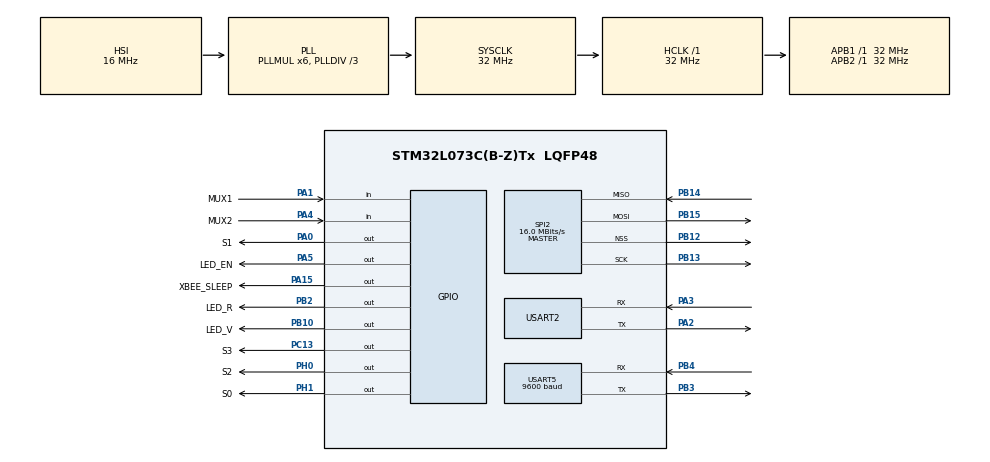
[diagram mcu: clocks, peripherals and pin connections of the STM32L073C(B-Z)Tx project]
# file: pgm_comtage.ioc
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Mcu.Family=STM32L0
Mcu.Name=STM32L073C(B-Z)Tx
Mcu.Package=LQFP48
NVIC.TIM2_IRQn=true\:0\:0\:false\:false\:true\:true\:true
NVIC.TIM3_IRQn=true\:0\:0\:false\:false\:true\:true\:true
NVIC.USART4_5_IRQn=true\:0\:0\:false\:false\:true\:true\:true
PA0.GPIO_Label=S1
PA0.Signal=GPIO_Output
PA1.GPIO_Label=MUX1
PA1.Signal=GPIO_Input
PA15.GPIO_Label=XBEE_SLEEP
PA15.Signal=GPIO_Output
PA2.Mode=Asynchronous
PA2.Signal=USART2_TX
PA3.Mode=Asynchronous
PA3.Signal=USART2_RX
PA4.GPIO_Label=MUX2
PA4.Signal=GPIO_Input
PA5.GPIO_Label=LED_EN
PA5.Signal=GPIO_Output
PB10.GPIO_Label=LED_V
PB10.Signal=GPIO_Output
PB12.Mode=NSS_Signal_Hard_Output
PB12.Signal=SPI2_NSS
PB13.Mode=Full_Duplex_Master
PB13.Signal=SPI2_SCK
PB14.Mode=Full_Duplex_Master
PB14.Signal=SPI2_MISO
PB15.Mode=Full_Duplex_Master
PB15.Signal=SPI2_MOSI
PB2.GPIO_Label=LED_R
PB2.Signal=GPIO_Output
PB3.Mode=Asynchronous
PB3.Signal=USART5_TX
PB4.Mode=Asynchronous
PB4.Signal=USART5_RX
PC13.GPIO_Label=S3
PC13.Signal=GPIO_Output
PH0-OSC_IN.GPIO_Label=S2
PH0-OSC_IN.Signal=GPIO_Output
PH1-OSC_OUT.GPIO_Label=S0
PH1-OSC_OUT.Signal=GPIO_Output
ProjectManager.HeapSize=0x200
ProjectManager.StackSize=0x400
ProjectManager.TargetToolchain=STM32CubeIDE
RCC.AHBFreq_Value=32000000
RCC.APB1Freq_Value=32000000
RCC.APB1TimFreq_Value=32000000
RCC.APB2Freq_Value=32000000
RCC.APB2TimFreq_Value=32000000
RCC.HCLKFreq_Value=32000000
RCC.HSE_VALUE=8000000
RCC.HSI16_VALUE=16000000
RCC.HSI48_VALUE=48000000
RCC.HSI_VALUE=16000000
RCC.LSE_VALUE=32768
RCC.MSI_VALUE=2097000
RCC.PLLDIV=RCC_PLLDIV_3
RCC.PLLMUL=RCC_PLLMUL_6
RCC.SYSCLKFreq_VALUE=32000000
RCC.SYSCLKSource=RCC_SYSCLKSOURCE_PLLCLK
RCC.VCOOutputFreq_Value=96000000
SPI2.CalculateBaudRate=16.0 MBits/s
SPI2.Direction=SPI_DIRECTION_2LINES
SPI2.Mode=SPI_MODE_MASTER
SPI2.VirtualNSS=VM_NSSHARD
SPI2.VirtualType=VM_MASTER
TIM2.Period=1000
TIM2.Prescaler=1600
TIM3.ClockDivision=TIM_CLOCKDIVISION_DIV1
TIM3.Period=4883
TIM3.Prescaler=65535
USART2.VirtualMode-Asynchronous=VM_ASYNC
USART5.BaudRate=9600
USART5.VirtualMode-Asynchronous=VM_ASYNC
VP_TIM2_VS_ClockSourceINT.Mode=Internal
VP_TIM3_VS_ClockSourceINT.Mode=Internal
board=custom

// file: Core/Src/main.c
/* USER CODE BEGIN Header */
/**
  ******************************************************************************
  * @file           : main.c
  * @brief          : Main program body
  ******************************************************************************
  * @attention
  *
  * <h2><center>&copy; Copyright (c) 2021 STMicroelectronics.
  * All rights reserved.</center></h2>
  *
  * This software component is licensed by ST under BSD 3-Clause license,
  * the "License"; You may not use this file except in compliance with the
  * License. You may obtain a copy of the License at:
  *                        opensource.org/licenses/BSD-3-Clause
  *
  ******************************************************************************
  */
/* USER CODE END Header */
#include "main.h"

/* USER CODE BEGIN PM */

#define bee_rate_fine_polling_threshold 2 //in bee per DT
#define bee_rate_alert_threshold 5 //in bee per DT
#define DT 10 //in seconds

#define transmit_request 0x10
#define receive_packet 0x90
#define remote_command_response 0x97
#define remote_AT_command_request 0x17

#define timeout_duration 500 // x 2ms

#define LED_R GPIO_PIN_2
#define LED_V GPIO_PIN_10

#define LED_EN GPIOA, GPIO_PIN_5
#define XBEE_SLEEP GPIOA, GPIO_PIN_15

#define MUX1 GPIOA, GPIO_PIN_1
#define MUX2 GPIOA, GPIO_PIN_4

/* USER CODE END PM */

SPI_HandleTypeDef hspi2;

TIM_HandleTypeDef htim2;
TIM_HandleTypeDef htim3;

UART_HandleTypeDef huart2;
UART_HandleTypeDef huart5;

/* USER CODE BEGIN PV */

enum {
	lora_init,
	xbee_init,
	master_idle,
	sparse_polling,
	fine_polling,
	lora_alert
} master_state = lora_init;

uint8_t sensor_pair[16][2] = {
 //exterior, interior
		{0 , 1 },
		{3 , 2 },
		{5 , 4 },
		{7 , 6 },
		{15, 14},
		{13, 12},
		{11, 10},
		{9 , 8 },
		{17, 16},
		{19, 18},
		{21, 20},
		{23, 22},
		{31, 30},
		{29, 28},
		{27, 26},
		{25, 24}
};

//signal_off,
//signal_ok,
//signal_connecting,
//signal_swarming,
//signal_fault
uint8_t signals[5][20][2] = {
		{     // R, G
				{0, 0}, //off
				{0, 0},
				{0, 0},
				{0, 0},
				{0, 0},
				{0, 0},
				{0, 0},
				{0, 0},
				{0, 0},
				{0, 0},
				{0, 0},
				{0, 0},
				{0, 0},
				{0, 0},
				{0, 0},
				{0, 0},
				{0, 0},
				{0, 0},
				{0, 0},
				{0, 0}
		}, {
				{0, 1}, //ok
				{0, 0},
				{0, 0},
				{0, 1},
				{0, 0},
				{0, 0},
				{0, 0},
				{0, 0},
				{0, 0},
				{0, 0},
				{0, 0},
				{0, 0},
				{0, 0},
				{0, 0},
				{0, 0},
				{0, 0},
				{0, 0},
				{0, 0},
				{0, 0},
				{0, 0}
		}, {
				{0, 1}, //connecting
				{0, 0},
				{0, 1},
				{0, 0},
				{0, 1},
				{0, 0},
				{0, 1},
				{0, 0},
				{0, 1},
				{0, 0},
				{0, 1},
				{0, 0},
				{0, 1},
				{0, 0},
				{0, 1},
				{0, 0},
				{0, 1},
				{0, 0},
				{0, 1},
				{0, 0}
		}, {
				{1, 0}, //swarming
				{0, 1},
				{1, 0},
				{0, 1},
				{1, 0},
				{0, 1},
				{1, 0},
				{0, 1},
				{1, 0},
				{0, 1},
				{1, 0},
				{0, 1},
				{1, 0},
				{0, 1},
				{1, 0},
				{0, 1},
				{1, 0},
				{0, 1},
				{1, 0},
				{0, 1}
		}, {
				{1, 0}, //fault
				{0, 0},
				{1, 0},
				{0, 0},
				{1, 0},
				{0, 0},
				{1, 0},
				{0, 0},
				{1, 0},
				{0, 0},
				{1, 0},
				{0, 0},
				{1, 0},
				{0, 0},
				{1, 0},
				{0, 0},
				{1, 0},
				{0, 0},
				{1, 0},
				{0, 0}
		}
};

uint8_t sensor_value[16][2] = {0};
typedef enum {A, B, C, D} sensors_states;
sensors_states sensors_state[16] = {A};

long int bee_count;
int16_t bee_rate;
uint8_t alert_sent_flag = 0;

uint8_t lora_status = {0};
uint8_t cr_flag=0;
uint8_t xbee_rx_last_byte = 0;
uint8_t xbee_rx_buffer[256] = {0};
uint8_t xbee_rx_read_index = 0xFF;
uint8_t xbee_rx_write_index = 0;

//tableau des parametres envoyés au xBee
//pour chaque config_step de 0 à config_length exclu
//-->envoie "AT"+ config[config_step][0] + config[config_step][1]

uint8_t config[20][2][10] = {
	{"ID", "1230"}, // network id
	{"NI", "abeille2"}, // node id
	{"CE", "0"},	// coordinator mode
	{"AP", "1"},  	// API enable
	{"SP", "20"},	// cyclic sleep period
	{"SN", "100"},  // number of sleep periods
	{"SM", "0"},	// sleep mode
	{"ST", "500"}   // time before sleep
};
uint8_t config_step = 0;
uint8_t xbee_reset = 0;

uint8_t config_length = 8;

enum xbee_send_states {
	enter_command_mode,
	command_mode_ok,
	send_config,
	config_ok,
	single_command,
	single_command_ok,
	config_over
} xbee_send_state = enter_command_mode;

enum xbee_receive_states {
	idle,
	frame_length,
	frame_type,
	frame_id,
	frame_address64,
	frame_address16,
	frame_option,
	frame_at_status,
	frame_content,
	check_sum,
	process_content
} xbee_receive_state = idle;

enum signal_states {
	signal_off,
	signal_ok,
	signal_connecting,
	signal_swarming,
	signal_fault
} signal_state = signal_off;

struct frame{
    uint16_t length;
    uint8_t type;
    uint8_t id; //AT
    uint64_t address64;
    uint16_t address16;
    uint8_t option;
    uint8_t content[256];
    uint8_t content_index;
    uint8_t command_status[4]; //AT
    uint8_t check_sum;
    uint8_t check_sum_ok;
};

//AT COMMANDS https://cdn.sparkfun.com/assets/resources/2/9/22AT_Commands.pdf

struct frame received_frame = {0};

/* USER CODE END PV */

void SystemClock_Config(void);
static void MX_GPIO_Init(void);
static void MX_USART5_UART_Init(void);
static void MX_USART2_UART_Init(void);
static void MX_TIM3_Init(void);
static void MX_SPI2_Init(void);
static void MX_TIM2_Init(void);

/* USER CODE BEGIN 0 */

void select_mux(uint8_t);
void scan_sensors(void);
void HAL_UART_RxCpltCallback(UART_HandleTypeDef *huart);
void update_bee_rate();
void update_signal();

void invert_lsB_msB(uint64_t*, uint8_t);
void xbee_send_string(uint8_t * string);
void xbee_send_alert();
void read_xbee();

/* USER CODE END 0 */

int main(void)
{

  /* MCU Configuration--------------------------------------------------------*/

  /* Reset of all peripherals, Initializes the Flash interface and the Systick. */
  HAL_Init();

  /* Configure the system clock */
  SystemClock_Config();

  /* Initialize all configured peripherals */
  MX_GPIO_Init();
  MX_USART5_UART_Init();
  MX_USART2_UART_Init();
  MX_TIM3_Init();
  MX_SPI2_Init();
  MX_TIM2_Init();
  /* USER CODE BEGIN 2 */

  HAL_TIM_Base_Start_IT(&htim3);
  HAL_TIM_Base_Start_IT(&htim2);

  HAL_GPIO_WritePin(GPIOB, LED_R, GPIO_PIN_SET);
  HAL_GPIO_WritePin(GPIOB, LED_V, GPIO_PIN_RESET);
  HAL_GPIO_WritePin(XBEE_SLEEP, 0);

  HAL_UART_Receive_IT(&huart5, &xbee_rx_last_byte, 1);

//  xbee_send_state = config_over;

  /* USER CODE END 2 */

  /* Infinite loop */
  while (1)
  {

    /* USER CODE BEGIN 3 */
	  static uint16_t timeout;
	  char string[50] = {0};

	  switch(master_state){
	  	  case lora_init:
	  		  signal_state = signal_connecting;
	  		  master_state = xbee_init;
	  	  break;
	  	  case xbee_init:
			  switch(xbee_send_state){

				  case enter_command_mode:
					  HAL_GPIO_TogglePin (GPIOB, GPIO_PIN_2);
					  HAL_UART_Transmit(&huart5, "+++", 3, 100);
					  timeout = 0;
					  xbee_send_state = command_mode_ok;
				  break;

				  case command_mode_ok:
					  if(cr_flag){
						  if(xbee_rx_buffer[cr_flag-2] == 'O' && xbee_rx_buffer[cr_flag-1] == 'K'){
							  xbee_send_state = single_command;
							  HAL_Delay(10);
							  timeout = 0;
						  }
						  cr_flag = 0;
					  }
					  else {
						  HAL_Delay(1);
						  timeout++;
						  if (timeout >= timeout_duration)
							  xbee_send_state = enter_command_mode;
					  }
				  break;

				  case single_command:
					  if (xbee_reset==0){
						  HAL_UART_Transmit(&huart5, "ATRE\r", 5, 100);
						  xbee_reset = 1;
					  }
					  timeout = 0;
					  xbee_send_state = single_command_ok;
				  break;

				  case single_command_ok:
					  if(cr_flag){
						  if(xbee_rx_buffer[cr_flag-2] == 'O' && xbee_rx_buffer[cr_flag-1] == 'K'){
							  xbee_send_state = send_config;
							  HAL_Delay(10);
							  timeout = 0;
						  }
						  cr_flag = 0;
					  }
					  else {
						  HAL_Delay(1);
						  timeout++;
						  if (timeout >= timeout_duration)
							  xbee_send_state = enter_command_mode;
					  }
				  break;

				  case send_config:

					  if(config_step == config_length){
						  sprintf(string, "ATWR\r");
					  }
					  else sprintf(string, "AT%s%s\r", config[config_step][0], config[config_step][1]);

					  HAL_UART_Transmit(&huart5, string, strlen(string), 100);
					  xbee_send_state = config_ok;
				  break;

				  case config_ok:
					  if(cr_flag){
						  if(xbee_rx_buffer[cr_flag-2] == 'O' && xbee_rx_buffer[cr_flag-1] == 'K'){
							  if(config_step == config_length){
								  HAL_GPIO_WritePin(GPIOB, LED_R, GPIO_PIN_RESET);
								  HAL_GPIO_WritePin(GPIOB, LED_V, GPIO_PIN_SET);
								  xbee_send_state = config_over;
								  HAL_Delay(10000);
								  master_state = fine_polling;
								  xbee_rx_read_index = xbee_rx_write_index;
							  }
							  else {
								  timeout = 0;
								  config_step++;
								  xbee_send_state = send_config;
								  HAL_Delay(10);
							  }
						  }
						  cr_flag = 0;
					  }
					  if(xbee_rx_buffer[xbee_rx_write_index-2] == 'O' && xbee_rx_buffer[xbee_rx_write_index-1] == 'K'){

					  }
					  else {
						  HAL_Delay(1);
						  timeout++;
						  if (timeout >= timeout_duration){
							  xbee_send_state = enter_command_mode;
							  //config_step = 0;
						  }
					  }
				  break;

				  default:

				  break;

			  }
	      break;

	  	  case master_idle:
	  		  signal_state = signal_ok;
	  		  HAL_Delay(1000);

	  		  master_state = fine_polling;
	  	  break;

	  	  case sparse_polling:
	  		  signal_state = signal_ok;
	  		  scan_sensors();
	  		  HAL_Delay(10); //if a large amount of bees goes in or out
	  		  if(bee_rate < -1*bee_rate_fine_polling_threshold || bee_rate > 1*bee_rate_fine_polling_threshold){
	  			  master_state = fine_polling; //we'll trigger a fine_polling
	  		  }
	  	  break;

	  	  case fine_polling:
	  		  if (signal_state != signal_swarming ) signal_state = signal_ok;
	  		  scan_sensors();
	  		  if(bee_rate < -1*bee_rate_alert_threshold || bee_rate > bee_rate_alert_threshold){
	  			  xbee_send_alert();
	  			  signal_state = signal_swarming;
	  			  bee_rate = 0;
	  		  }
	  	  break;

	  	  case lora_alert:
	  		  signal_state = signal_swarming;
	  	  break;

	  	  default: break;
	  }

	  read_xbee();
  }
  /* USER CODE END 3 */
}

void SystemClock_Config(void)
{
  RCC_OscInitTypeDef RCC_OscInitStruct = {0};
  RCC_ClkInitTypeDef RCC_ClkInitStruct = {0};
  RCC_PeriphCLKInitTypeDef PeriphClkInit = {0};

  /** Configure the main internal regulator output voltage
  */
  __HAL_PWR_VOLTAGESCALING_CONFIG(PWR_REGULATOR_VOLTAGE_SCALE1);
  /** Initializes the RCC Oscillators according to the specified parameters
  * in the RCC_OscInitTypeDef structure.
  */
  RCC_OscInitStruct.OscillatorType = RCC_OSCILLATORTYPE_HSI;
  RCC_OscInitStruct.HSIState = RCC_HSI_ON;
  RCC_OscInitStruct.HSICalibrationValue = RCC_HSICALIBRATION_DEFAULT;
  RCC_OscInitStruct.PLL.PLLState = RCC_PLL_ON;
  RCC_OscInitStruct.PLL.PLLSource = RCC_PLLSOURCE_HSI;
  RCC_OscInitStruct.PLL.PLLMUL = RCC_PLLMUL_6;
  RCC_OscInitStruct.PLL.PLLDIV = RCC_PLLDIV_3;
  if (HAL_RCC_OscConfig(&RCC_OscInitStruct) != HAL_OK)
  {
    Error_Handler();
  }
  /** Initializes the CPU, AHB and APB buses clocks
  */
  RCC_ClkInitStruct.ClockType = RCC_CLOCKTYPE_HCLK|RCC_CLOCKTYPE_SYSCLK
                              |RCC_CLOCKTYPE_PCLK1|RCC_CLOCKTYPE_PCLK2;
  RCC_ClkInitStruct.SYSCLKSource = RCC_SYSCLKSOURCE_PLLCLK;
  RCC_ClkInitStruct.AHBCLKDivider = RCC_SYSCLK_DIV1;
  RCC_ClkInitStruct.APB1CLKDivider = RCC_HCLK_DIV1;
  RCC_ClkInitStruct.APB2CLKDivider = RCC_HCLK_DIV1;

  if (HAL_RCC_ClockConfig(&RCC_ClkInitStruct, FLASH_LATENCY_1) != HAL_OK)
  {
    Error_Handler();
  }
  PeriphClkInit.PeriphClockSelection = RCC_PERIPHCLK_USART2;
  PeriphClkInit.Usart2ClockSelection = RCC_USART2CLKSOURCE_PCLK1;
  if (HAL_RCCEx_PeriphCLKConfig(&PeriphClkInit) != HAL_OK)
  {
    Error_Handler();
  }
}

static void MX_SPI2_Init(void)
{

  /* SPI2 parameter configuration*/
  hspi2.Instance = SPI2;
  hspi2.Init.Mode = SPI_MODE_MASTER;
  hspi2.Init.Direction = SPI_DIRECTION_2LINES;
  hspi2.Init.DataSize = SPI_DATASIZE_8BIT;
  hspi2.Init.CLKPolarity = SPI_POLARITY_LOW;
  hspi2.Init.CLKPhase = SPI_PHASE_1EDGE;
  hspi2.Init.NSS = SPI_NSS_HARD_OUTPUT;
  hspi2.Init.BaudRatePrescaler = SPI_BAUDRATEPRESCALER_2;
  hspi2.Init.FirstBit = SPI_FIRSTBIT_MSB;
  hspi2.Init.TIMode = SPI_TIMODE_DISABLE;
  hspi2.Init.CRCCalculation = SPI_CRCCALCULATION_DISABLE;
  hspi2.Init.CRCPolynomial = 7;
  if (HAL_SPI_Init(&hspi2) != HAL_OK)
  {
    Error_Handler();
  }

}

static void MX_TIM2_Init(void)
{

  TIM_ClockConfigTypeDef sClockSourceConfig = {0};
  TIM_MasterConfigTypeDef sMasterConfig = {0};

  htim2.Instance = TIM2;
  htim2.Init.Prescaler = 1600;
  htim2.Init.CounterMode = TIM_COUNTERMODE_UP;
  htim2.Init.Period = 1000;
  htim2.Init.ClockDivision = TIM_CLOCKDIVISION_DIV1;
  htim2.Init.AutoReloadPreload = TIM_AUTORELOAD_PRELOAD_DISABLE;
  if (HAL_TIM_Base_Init(&htim2) != HAL_OK)
  {
    Error_Handler();
  }
  sClockSourceConfig.ClockSource = TIM_CLOCKSOURCE_INTERNAL;
  if (HAL_TIM_ConfigClockSource(&htim2, &sClockSourceConfig) != HAL_OK)
  {
    Error_Handler();
  }
  sMasterConfig.MasterOutputTrigger = TIM_TRGO_RESET;
  sMasterConfig.MasterSlaveMode = TIM_MASTERSLAVEMODE_DISABLE;
  if (HAL_TIMEx_MasterConfigSynchronization(&htim2, &sMasterConfig) != HAL_OK)
  {
    Error_Handler();
  }

}

static void MX_TIM3_Init(void)
{

  TIM_ClockConfigTypeDef sClockSourceConfig = {0};
  TIM_MasterConfigTypeDef sMasterConfig = {0};

  htim3.Instance = TIM3;
  htim3.Init.Prescaler = 65535;
  htim3.Init.CounterMode = TIM_COUNTERMODE_UP;
  htim3.Init.Period = 4883;
  htim3.Init.ClockDivision = TIM_CLOCKDIVISION_DIV1;
  htim3.Init.AutoReloadPreload = TIM_AUTORELOAD_PRELOAD_DISABLE;
  if (HAL_TIM_Base_Init(&htim3) != HAL_OK)
  {
    Error_Handler();
  }
  sClockSourceConfig.ClockSource = TIM_CLOCKSOURCE_INTERNAL;
  if (HAL_TIM_ConfigClockSource(&htim3, &sClockSourceConfig) != HAL_OK)
  {
    Error_Handler();
  }
  sMasterConfig.MasterOutputTrigger = TIM_TRGO_RESET;
  sMasterConfig.MasterSlaveMode = TIM_MASTERSLAVEMODE_DISABLE;
  if (HAL_TIMEx_MasterConfigSynchronization(&htim3, &sMasterConfig) != HAL_OK)
  {
    Error_Handler();
  }

}

static void MX_USART2_UART_Init(void)
{

  huart2.Instance = USART2;
  huart2.Init.BaudRate = 115200;
  huart2.Init.WordLength = UART_WORDLENGTH_8B;
  huart2.Init.StopBits = UART_STOPBITS_1;
  huart2.Init.Parity = UART_PARITY_NONE;
  huart2.Init.Mode = UART_MODE_TX_RX;
  huart2.Init.HwFlowCtl = UART_HWCONTROL_NONE;
  huart2.Init.OverSampling = UART_OVERSAMPLING_16;
  huart2.Init.OneBitSampling = UART_ONE_BIT_SAMPLE_DISABLE;
  huart2.AdvancedInit.AdvFeatureInit = UART_ADVFEATURE_NO_INIT;
  if (HAL_UART_Init(&huart2) != HAL_OK)
  {
    Error_Handler();
  }

}

static void MX_USART5_UART_Init(void)
{

  huart5.Instance = USART5;
  huart5.Init.BaudRate = 9600;
  huart5.Init.WordLength = UART_WORDLENGTH_8B;
  huart5.Init.StopBits = UART_STOPBITS_1;
  huart5.Init.Parity = UART_PARITY_NONE;
  huart5.Init.Mode = UART_MODE_TX_RX;
  huart5.Init.HwFlowCtl = UART_HWCONTROL_NONE;
  huart5.Init.OverSampling = UART_OVERSAMPLING_16;
  huart5.Init.OneBitSampling = UART_ONE_BIT_SAMPLE_DISABLE;
  huart5.AdvancedInit.AdvFeatureInit = UART_ADVFEATURE_NO_INIT;
  if (HAL_UART_Init(&huart5) != HAL_OK)
  {
    Error_Handler();
  }

}

static void MX_GPIO_Init(void)
{
  GPIO_InitTypeDef GPIO_InitStruct = {0};

  /* GPIO Ports Clock Enable */
  __HAL_RCC_GPIOC_CLK_ENABLE();
  __HAL_RCC_GPIOH_CLK_ENABLE();
  __HAL_RCC_GPIOA_CLK_ENABLE();
  __HAL_RCC_GPIOB_CLK_ENABLE();

  /*Configure GPIO pin Output Level */
  HAL_GPIO_WritePin(S3_GPIO_Port, S3_Pin, GPIO_PIN_RESET);

  /*Configure GPIO pin Output Level */
  HAL_GPIO_WritePin(GPIOH, S2_Pin|S0_Pin, GPIO_PIN_RESET);

  /*Configure GPIO pin Output Level */
  HAL_GPIO_WritePin(GPIOA, S1_Pin|LED_EN_Pin|XBEE_SLEEP_Pin, GPIO_PIN_RESET);

  /*Configure GPIO pin Output Level */
  HAL_GPIO_WritePin(GPIOB, LED_R_Pin|LED_V_Pin, GPIO_PIN_RESET);

  /*Configure GPIO pin : S3_Pin */
  GPIO_InitStruct.Pin = S3_Pin;
  GPIO_InitStruct.Mode = GPIO_MODE_OUTPUT_PP;
  GPIO_InitStruct.Pull = GPIO_NOPULL;
  GPIO_InitStruct.Speed = GPIO_SPEED_FREQ_LOW;
  HAL_GPIO_Init(S3_GPIO_Port, &GPIO_InitStruct);

  /*Configure GPIO pins : S2_Pin S0_Pin */
  GPIO_InitStruct.Pin = S2_Pin|S0_Pin;
  GPIO_InitStruct.Mode = GPIO_MODE_OUTPUT_PP;
  GPIO_InitStruct.Pull = GPIO_NOPULL;
  GPIO_InitStruct.Speed = GPIO_SPEED_FREQ_LOW;
  HAL_GPIO_Init(GPIOH, &GPIO_InitStruct);

  /*Configure GPIO pins : S1_Pin LED_EN_Pin XBEE_SLEEP_Pin */
  GPIO_InitStruct.Pin = S1_Pin|LED_EN_Pin|XBEE_SLEEP_Pin;
  GPIO_InitStruct.Mode = GPIO_MODE_OUTPUT_PP;
  GPIO_InitStruct.Pull = GPIO_NOPULL;
  GPIO_InitStruct.Speed = GPIO_SPEED_FREQ_LOW;
  HAL_GPIO_Init(GPIOA, &GPIO_InitStruct);

  /*Configure GPIO pins : MUX1_Pin MUX2_Pin */
  GPIO_InitStruct.Pin = MUX1_Pin|MUX2_Pin;
  GPIO_InitStruct.Mode = GPIO_MODE_INPUT;
  GPIO_InitStruct.Pull = GPIO_NOPULL;
  HAL_GPIO_Init(GPIOA, &GPIO_InitStruct);

  /*Configure GPIO pins : LED_R_Pin LED_V_Pin */
  GPIO_InitStruct.Pin = LED_R_Pin|LED_V_Pin;
  GPIO_InitStruct.Mode = GPIO_MODE_OUTPUT_PP;
  GPIO_InitStruct.Pull = GPIO_NOPULL;
  GPIO_InitStruct.Speed = GPIO_SPEED_FREQ_LOW;
  HAL_GPIO_Init(GPIOB, &GPIO_InitStruct);

}

/* USER CODE BEGIN 4 */

void select_mux(uint8_t sel){
	HAL_GPIO_WritePin(GPIOH, GPIO_PIN_1 , (sel & 0b0001)>>0);
	HAL_GPIO_WritePin(GPIOA, GPIO_PIN_0 , (sel & 0b0010)>>1);
	HAL_GPIO_WritePin(GPIOH, GPIO_PIN_0 , (sel & 0b0100)>>2);
	HAL_GPIO_WritePin(GPIOC, GPIO_PIN_13, (sel & 0b1000)>>3);
}

void scan_sensors(){

  HAL_GPIO_WritePin(GPIOA, GPIO_PIN_5, 1); //turn on the diodes

  for(uint8_t i=0; i<8; i++) for(uint8_t j=0; j<2; j++){
	  uint8_t sensor_pair_value;
	  select_mux(sensor_pair[8*j+i][0]);
	  sensor_pair_value = (j)? HAL_GPIO_ReadPin(MUX1) : HAL_GPIO_ReadPin(MUX2);
	  select_mux(sensor_pair[8*j+i][1]);
	  sensor_pair_value += (j)? HAL_GPIO_ReadPin(MUX1)<<1 : HAL_GPIO_ReadPin(MUX2)<<1;

	  switch(sensors_state[8*j+i]){
		  case A:
			  if(sensor_pair_value == 0b01){
				  sensors_state[8*j+i] = B;
				  bee_count--;
//				  HAL_GPIO_WritePin(GPIOB, LED_R, 1);
//				  HAL_GPIO_WritePin(GPIOB, LED_V, 0);
//				  xbee_send_alert();
			  }
			  else if(sensor_pair_value == 0b10){
				  sensors_state[8*j+i] = D;
				  bee_count++;
//				  HAL_GPIO_WritePin(GPIOB, LED_R, 0);
//				  HAL_GPIO_WritePin(GPIOB, LED_V, 1);
//				  xbee_send_alert();
			  }
		  break;

		  case B:
			  if(sensor_pair_value == 0b00) sensors_state[8*j+i] = C;
			  else if (sensor_pair_value == 0b11) sensors_state[8*j+i] = A;
		  break;

		  case C:
			  if(sensor_pair_value == 0b10) sensors_state[8*j+i] = D;
			  else if (sensor_pair_value == 0b01) sensors_state[8*j+i] = B;
		  break;

		  case D:
			  if(sensor_pair_value == 0b11) sensors_state[8*j+i] = A;
			  else if (sensor_pair_value == 0b00) sensors_state[8*j+i] = C;
		  break;
	  }
  }
  if(master_state == sparse_polling) HAL_GPIO_WritePin(GPIOA, GPIO_PIN_5, 0);
}

void HAL_UART_RxCpltCallback(UART_HandleTypeDef *huart)
{
	if (huart->Instance == USART5){
	    xbee_rx_buffer[xbee_rx_write_index] = xbee_rx_last_byte;
	    cr_flag = (xbee_rx_last_byte == 0x0D)? xbee_rx_write_index : 0;
	    xbee_rx_write_index++;
	    HAL_UART_Receive_IT(&huart5, &xbee_rx_last_byte, 1);

	}
}

void HAL_TIM_PeriodElapsedCallback(TIM_HandleTypeDef *htim){
	if(htim == &htim3){
		update_bee_rate();
	} else if(htim == &htim2){
		update_signal();
	}
}

void update_bee_rate(){
	static long int bee_count_prev = 0;
	alert_sent_flag = 0;
	bee_rate = (bee_count - bee_count_prev);
	bee_count_prev = bee_count;
}

void update_signal(){
	static uint8_t i = 0;
	HAL_GPIO_WritePin(GPIOB, LED_R, signals[signal_state][i][0]);
	HAL_GPIO_WritePin(GPIOB, LED_V, signals[signal_state][i][1]);
	i = (i+1)%20;
}

void invert_lsB_msB(uint64_t * var, uint8_t length){
	uint64_t new_var = 0;
	for(uint8_t i=0; i<length; i++){
		uint64_t byte = (*var & (0xFF<<(8*i)))>>(8*i);
		new_var += byte<<((length-1-i)*8);
	}

	*var = new_var;
}

void xbee_send_string(uint8_t * string){
	struct frame tx_frame = {0};
	tx_frame.length = 0x0E + strlen(string);
	invert_lsB_msB((uint64_t*)&tx_frame.length, 2);
	tx_frame.type = 0x10;
	tx_frame.id = 0x01;
	tx_frame.address64 = 0xFFFF;
	invert_lsB_msB((uint64_t*)&tx_frame.address64, 8);
	tx_frame.address16 = 0xFFFE;
	invert_lsB_msB((uint64_t*)&tx_frame.address16, 2);
	memcpy(tx_frame.content, string, strlen(string));

	uint64_t sum = 0;
	uint16_t frame_length;
	frame_length = 275;
	uint8_t * ptr = (void *)&tx_frame+2;
	for(uint16_t i=0; i<frame_length-2; i++){
		sum += *ptr;
		ptr++;
	}

	tx_frame.check_sum = 0xFF - (sum & 0xFF);

	HAL_UART_Transmit(&huart5, "~", 1, 100);
	HAL_UART_Transmit(&huart5, (uint8_t*)&tx_frame.length, 2, 100);
	HAL_UART_Transmit(&huart5, &tx_frame.type, 1, 100);
	HAL_UART_Transmit(&huart5, &tx_frame.id, 1, 100);
	HAL_UART_Transmit(&huart5, &tx_frame.address64, 8, 100);
	HAL_UART_Transmit(&huart5, &tx_frame.address16, 2, 100);
	HAL_UART_Transmit(&huart5, &tx_frame.content_index, 1, 100);
	HAL_UART_Transmit(&huart5, &tx_frame.option, 1, 100);
	HAL_UART_Transmit(&huart5, &tx_frame.content, strlen(string), 100);
	HAL_UART_Transmit(&huart5, &tx_frame.check_sum, 1, 100);
}
void xbee_send_alert(){
	if(alert_sent_flag == 0){
		alert_sent_flag = 1;
		uint8_t string[256];
		sprintf(string, "E %s %li %li\r", config[1][1], bee_count, bee_rate);
		xbee_send_string(string);
	}

}

void read_xbee(){
  static struct frame received_frame = {0};

  if(xbee_rx_read_index<xbee_rx_write_index && master_state != xbee_init){
	  uint64_t sum = 0;
	  static uint8_t multiple_byte_step;

	  switch (xbee_receive_state){
		  case idle:
			  if(xbee_rx_buffer[xbee_rx_read_index] == 0x7E){
				  xbee_receive_state = frame_length;
			  }
			  /*else if (lora_requested && xbee_rx_buffer[xbee_rx_read_index] == 0xAA){
				  is_coordinator = True;
				  lora_requested = False;
			  }*/
		  break;

		  case frame_length:
			  received_frame.length += ((uint16_t)(xbee_rx_buffer[xbee_rx_read_index])) << (8-8*multiple_byte_step) ;
			  if(multiple_byte_step){
				  multiple_byte_step = 0;
				  xbee_receive_state = frame_type;
			  }
			  else{
				  multiple_byte_step++;
			  }
		  break;

		  case frame_type:
			  received_frame.type = xbee_rx_buffer[xbee_rx_read_index];
			  switch(received_frame.type){
				  case receive_packet: xbee_receive_state = frame_address64; break;
				  case remote_command_response: xbee_receive_state = frame_id; break;
				  default: xbee_rx_read_index = xbee_rx_write_index;
						   xbee_receive_state = idle;
				  break;
			  }

			  multiple_byte_step = 0;
		  break;

		  case frame_id:
			  received_frame.id = xbee_rx_buffer[xbee_rx_read_index];
			  xbee_receive_state = frame_address64;
		  break;

		  case frame_address64:
			  received_frame.address64 += ((uint64_t)xbee_rx_buffer[xbee_rx_read_index]) << (56-8*multiple_byte_step);

			  if(multiple_byte_step == 7){
				  xbee_receive_state = frame_address16;
				  multiple_byte_step = 0;
			  }
			  else multiple_byte_step++;
		  break;

		  case frame_address16:
			  received_frame.address16 += ((uint16_t)xbee_rx_buffer[xbee_rx_read_index]) << (8-8*multiple_byte_step);
			  if(multiple_byte_step == 1){
				  switch(received_frame.type){
					  case receive_packet: xbee_receive_state = frame_option; break;
					  case remote_command_response: xbee_receive_state = frame_at_status; break;
					  default: xbee_rx_read_index = xbee_rx_write_index;
							   xbee_receive_state = idle;
					  break;
				  }

				  multiple_byte_step = 0;
			  }
			  else multiple_byte_step++;
		  break;

		  case frame_option:
			  received_frame.option = xbee_rx_buffer[xbee_rx_read_index];
			  xbee_receive_state = frame_content;
		  break;

		  case frame_at_status:
			  received_frame.command_status[multiple_byte_step] = xbee_rx_buffer[xbee_rx_read_index];
			  if(multiple_byte_step == 2){
				  multiple_byte_step = 0;
				  xbee_receive_state = frame_content;
			  }
			  else multiple_byte_step++;
		  break;

		  case frame_content:
			  received_frame.content[received_frame.content_index] = xbee_rx_buffer[xbee_rx_read_index];
			  if(((received_frame.content_index == received_frame.length-13) && received_frame.type==receive_packet) || ((received_frame.content_index == received_frame.length-16) && (received_frame.type==remote_command_response)))
				  xbee_receive_state = check_sum;
			  else
				  received_frame.content_index++;
		  break;

		  case check_sum:
			  received_frame.check_sum = xbee_rx_buffer[xbee_rx_read_index];
			  for(uint8_t i=0; i<8; i++) sum += (((uint64_t)0xFF<<(56-8*i)) & received_frame.address64)>>(56-8*i);
			  for(uint8_t i=0; i<2; i++) sum += (((uint16_t)0xFF<<(8-8*i)) & received_frame.address16)>>(8-i*8);
			  if(received_frame.id==receive_packet) for(uint16_t i=0; i<received_frame.length-12; i++) sum += received_frame.content[i];
			  else if(received_frame.type==remote_command_response){
				  for(uint16_t i=0; i<received_frame.length-15; i++) sum += received_frame.content[i];
				  for(uint8_t i=0; i<4; i++) sum += received_frame.command_status[i];
			  }
			  sum += received_frame.type + received_frame.option + received_frame.id + received_frame.check_sum;
			  received_frame.check_sum_ok = (sum & 0xFF) == 0xFF;
			  xbee_receive_state = process_content;
			  xbee_rx_read_index--;
		  break;

		  case process_content:

			  switch(received_frame.content[0]){
			  	  case 'E':
			  		  master_state = lora_alert;
			  	  break;
			  	  case 'R':
			  		  master_state = sparse_polling;
			  		  signal_state = signal_ok;
			  	  break;
			  }
	  		  xbee_receive_state = idle;
			  memset(&received_frame, 0, sizeof(received_frame));
			  memset(&xbee_rx_buffer, 0, sizeof(xbee_rx_buffer));
			  xbee_rx_read_index = 0xFF;
			  xbee_rx_write_index = 0;

		  break;
	  }

	  xbee_rx_read_index += 1;

  }
}

/* USER CODE END 4 */

void Error_Handler(void)
{
  __disable_irq();
  while (1)
  {
  }
}

/************************ (C) COPYRIGHT STMicroelectronics *****END OF FILE****/
